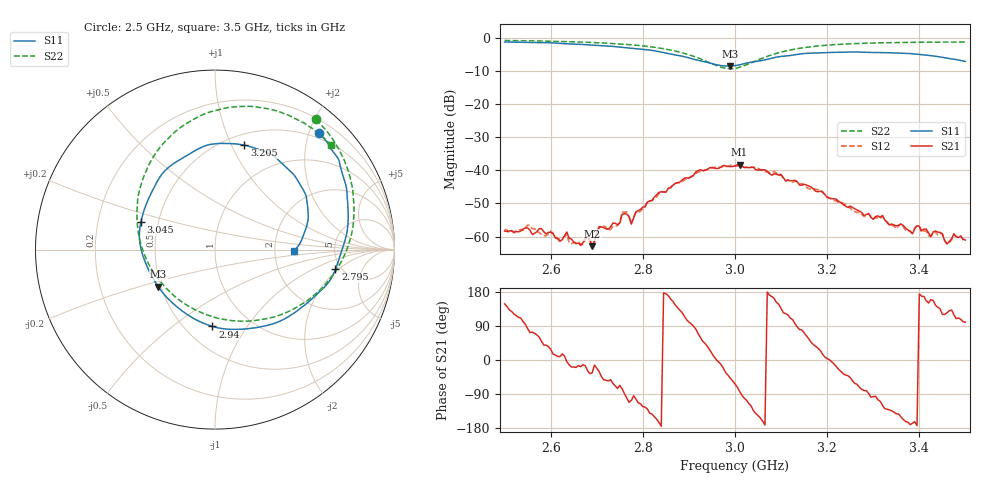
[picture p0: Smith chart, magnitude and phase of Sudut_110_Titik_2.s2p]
# Hz S RI R 50
! CMT, C1220, 16058040, 17.2.0/1
! Date: 15/08/2018 10:49:19
! Data: Format (Calibration Info)
! Freq  S11: Re/Im (F2)  S21: Re/Im (F2)  S12: Re/Im (F2)  S22: Re/Im (F2)
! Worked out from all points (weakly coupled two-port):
!   201 points, 2.5 GHz to 3.5 GHz, reference 50 ohm
!   highest |S21| = -38.30 dB at 3.01 GHz (marker M1); lowest = -62.9 dB at 2.69 GHz (marker M2)
!   lowest |S11| = -8.5 dB at 2.99 GHz (marker M3), VSWR 2.21, Z = 24.2 - j11.7 ohm
!   |S11| at or under -10 dB: nowhere
!   |S22| runs from -9.3 to -0.7 dB; largest |S21 - S12| = 0.00087
!   S11 on the Smith chart (normalised r, x): 2.5 GHz: 0.41, +2.18; 2.795 GHz: 4.48, -1.82; 2.94 GHz: 0.67, -0.71; 3.045 GHz: 0.40, +0.15; 3.205 GHz: 0.61, +1.12; 3.5 GHz: 2.58, -0.04
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2.5e9  0.5812 0.6484  -0.00103 0.000638  -0.00108 0.000704  0.5632 0.7259
2.55e9  0.6374 0.5744  0.00017 0.00134  4.1e-05 0.00149  0.6194 0.6644
2.67e9  0.7357 0.3088  0.000788 -0.000171  0.000724 -0.00022  0.7367 0.4545
2.68e9  0.7378 0.279  0.000879 -0.000469  0.000925 -0.000403  0.7451 0.4325
2.69e9  0.7402 0.2448  0.000593 -0.0004  0.000631 -0.00039  0.751 0.4092
2.705e9  0.7421 0.1993  0.00122 -0.000708  0.00119 -0.000628  0.7604 0.3702
2.745e9  0.7313 0.0771  0.00039 -0.00146  0.000495 -0.00138  0.7733 0.2603
2.755e9  0.7214 0.0413  0.000528 -0.00211  0.000633 -0.00225  0.7747 0.2306
2.775e9  0.6995 -0.0263  -0.000449 -0.00148  -0.000496 -0.0015  0.7723 0.164
2.795e9  0.6713 -0.109  -0.00112 -0.00233  -0.00102 -0.00219  0.7624 0.093
2.835e9  0.5731 -0.2445  -0.00449 -0.00122  -0.00426 -0.00127  0.7041 -0.0661
2.94e9  -0.0141 -0.4283  0.00839 0.00603  0.00822 0.00629  0.1829 -0.3985
2.99e9  -0.3152 -0.2074  0.00759 -0.00854  0.00804 -0.00882  -0.2123 -0.2712
3e9  -0.3554 -0.1436  0.00528 -0.0104  0.00468 -0.0106  -0.2767 -0.2097
3.01e9  -0.3864 -0.0748  0.00146 -0.0121  0.00141 -0.0115  -0.3331 -0.1412
3.045e9  -0.4125 0.1549  -0.00793 -0.00645  -0.00822 -0.00704  -0.4318 0.1321
3.17e9  0.0313 0.5915  0.00396 0.00339  0.00375 0.00368  -0.0927 0.7399
3.205e9  0.1641 0.5813  0.0038 5.43e-05  0.00383 -0.000208  0.0358 0.7835
3.335e9  0.4656 0.3767  -0.000994 -0.00112  -0.00102 -0.00107  0.3917 0.7558
3.445e9  0.5044 0.1126  -0.000822 0.000814  -0.000856 0.000723  0.5769 0.6467
3.46e9  0.4908 0.0754  -0.000441 0.000638  -0.000464 0.000618  0.5966 0.6319
3.5e9  0.4416 -0.00553  -0.000149 0.000872  -5.34e-05 0.000885  0.6436 0.5849
